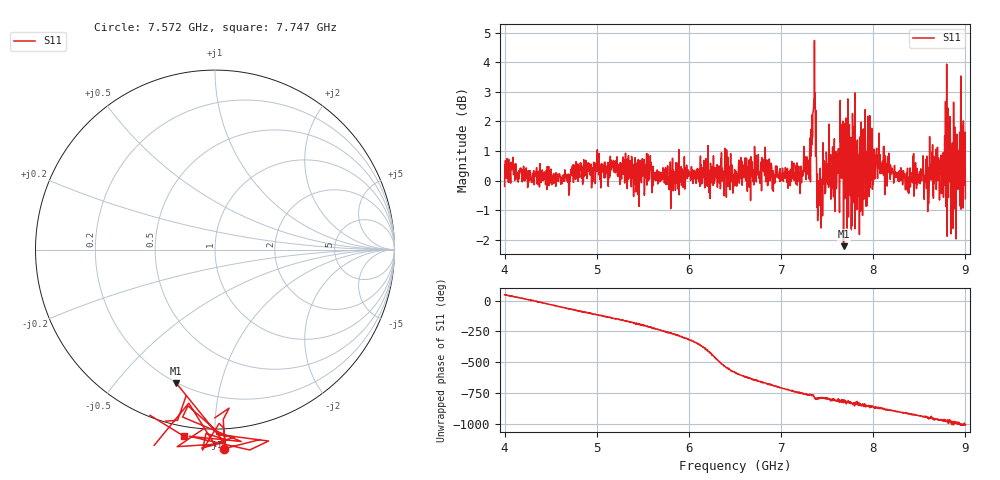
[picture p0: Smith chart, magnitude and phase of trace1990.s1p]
! Created with skrf 1.8.0 (http://scikit-rf.org).
# Hz S RI R 50.0
!freq ReS11 ImS11
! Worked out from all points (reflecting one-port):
!   1601 points, 4 GHz to 9 GHz, reference 50 ohm
!   lowest |S11| = -2.2 dB at 7.678 GHz (marker M1), VSWR 7.87, Z = 9.84 - j36.6 ohm
!   phase of S11 starts at 48 deg and turns -1053 deg over the sweep
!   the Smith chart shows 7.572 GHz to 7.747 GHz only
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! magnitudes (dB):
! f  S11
! 4 GHz  -0.2
! 4.625 GHz  -0.1
! 5.25 GHz  -0.1
! 5.875 GHz  0.5
! 6.412 GHz  0.7
! 6.5 GHz  -0.1
! 6.734 GHz  0.7
! 7.125 GHz  0.2
! 7.294 GHz  0.2
! 7.353 GHz  2.5
! 7.369 GHz  3.0
! 7.412 GHz  -0.6
! 7.512 GHz  0.6
! 7.566 GHz  0.1
! 7.609 GHz  0.9
! 7.662 GHz  1.4
! 7.678 GHz  -2.2
! 7.75 GHz  0.6
! 7.775 GHz  2.3
! 7.822 GHz  -1.0
! 7.962 GHz  2.2
! 7.981 GHz  0.0
! 8.375 GHz  -0.3
! 8.725 GHz  0.4
! 8.816 GHz  -0.6
! 8.869 GHz  -0.7
! 8.972 GHz  0.3
! 9 GHz  -0.6
